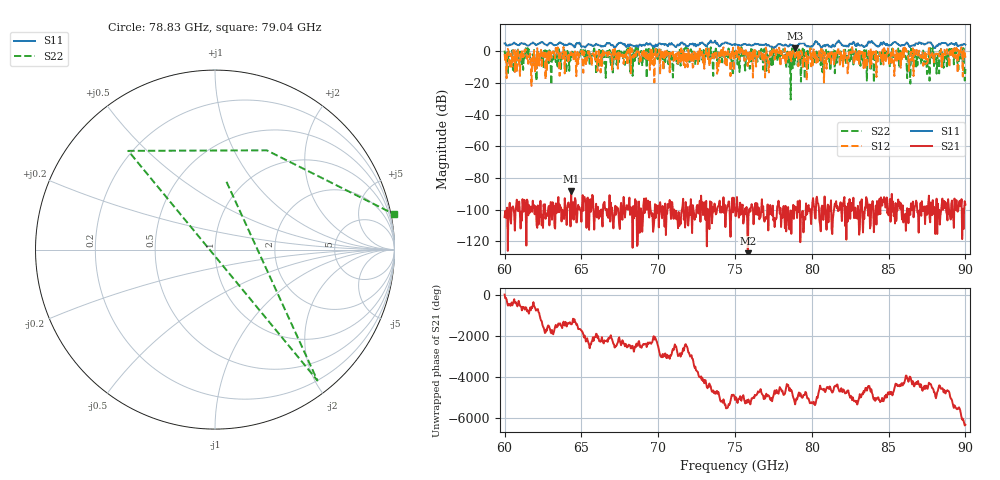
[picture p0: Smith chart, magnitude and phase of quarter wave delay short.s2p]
!Created with skrf (http://scikit-rf.org).
# GHz S RI R 50.0
!freq ReS11 ImS11 ReS21 ImS21 ReS12 ImS12 ReS22 ImS22
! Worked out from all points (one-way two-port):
!   721 points, 60 GHz to 90 GHz, reference 50 ohm
!   highest |S21| = -88.58 dB at 64.33 GHz (marker M1); lowest = -127.6 dB at 75.83 GHz (marker M2)
!   lowest |S11| = 1.8 dB at 78.92 GHz (marker M3)
!   |S11| at or under -10 dB: nowhere
!   |S22| runs from -30.5 to 2.9 dB; largest |S21 - S12| = 1.4
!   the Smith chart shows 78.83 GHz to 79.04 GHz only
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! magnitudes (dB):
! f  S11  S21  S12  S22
! 60 GHz  5.0  -104.8  -1.7  0.4
! 60.5 GHz  4.4  -98.7  -2.0  0.6
! 61.5 GHz  3.5  -94.7  -3.3  2.0
! 62.08 GHz  4.0  -109.8  -10.9  -18.7
! 62.71 GHz  4.0  -102.5  -1.4  1.7
! 62.96 GHz  5.4  -100.0  -0.3  -1.3
! 64.33 GHz  4.3  -88.6  -2.6  -6.2
! 65 GHz  2.9  -107.7  0.3  0.3
! 70 GHz  4.5  -97.6  -0.2  -2.6
! 75 GHz  4.1  -99.4  0.3  -3.4
! 75.83 GHz  4.1  -127.6  -9.3  -3.6
! 78.08 GHz  3.9  -105.4  0.0  -0.1
! 78.62 GHz  3.8  -100.6  -0.2  -30.5
! 78.92 GHz  1.8  -98.4  -3.8  -0.7
! 80 GHz  3.1  -101.6  -1.5  -7.5
! 85 GHz  3.5  -103.7  -3.0  -1.5
! 86 GHz  3.9  -106.8  -3.7  -1.9
! 86.29 GHz  4.1  -108.6  -5.1  0.1
! 86.58 GHz  3.7  -95.0  1.9  -1.3
! 87.54 GHz  5.6  -102.6  -7.1  -7.8
! 89.08 GHz  5.1  -96.3  -2.8  2.7
! 90 GHz  4.2  -96.9  -4.1  -11.2
